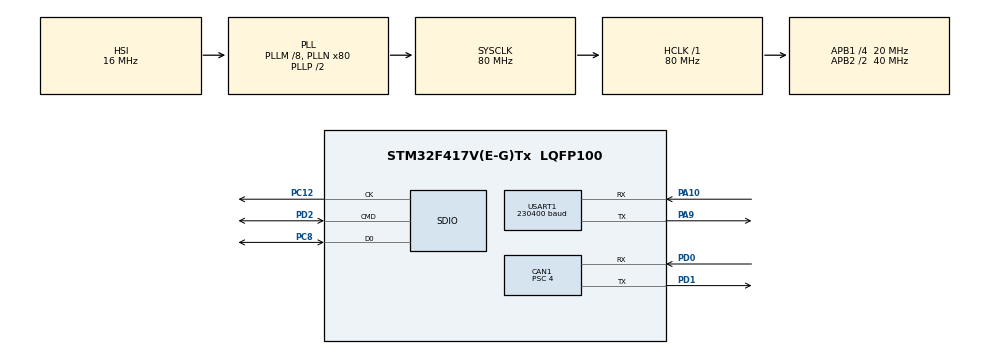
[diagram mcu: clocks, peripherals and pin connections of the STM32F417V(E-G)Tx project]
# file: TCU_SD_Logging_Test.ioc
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CAN1.BS1=CAN_BS1_8TQ
CAN1.CalculateBaudRate=500000
CAN1.CalculateTimeBit=2000
CAN1.CalculateTimeQuantum=200.0
CAN1.Prescaler=4
CAN1.SJW=CAN_SJW_1TQ
FATFS._MAX_SS=4096
FATFS._MIN_SS=512
Mcu.Family=STM32F4
Mcu.Name=STM32F417V(E-G)Tx
Mcu.Package=LQFP100
NVIC.PriorityGroup=NVIC_PRIORITYGROUP_4
PA10.Mode=Asynchronous
PA10.Signal=USART1_RX
PA9.Mode=Asynchronous
PA9.Signal=USART1_TX
PC12.Mode=SD_1_bit
PC12.Signal=SDIO_CK
PC8.Mode=SD_1_bit
PC8.Signal=SDIO_D0
PD0.Mode=CAN_Activate
PD0.Signal=CAN1_RX
PD1.Mode=CAN_Activate
PD1.Signal=CAN1_TX
PD2.Mode=SD_1_bit
PD2.Signal=SDIO_CMD
PH0-OSC_IN.Mode=HSE-External-Oscillator
PH0-OSC_IN.Signal=RCC_OSC_IN
PH1-OSC_OUT.Mode=HSE-External-Oscillator
PH1-OSC_OUT.Signal=RCC_OSC_OUT
ProjectManager.HeapSize=0x200
ProjectManager.StackSize=0x400
ProjectManager.TargetToolchain=STM32CubeIDE
RCC.48MHZClocksFreq_Value=40000000
RCC.AHBFreq_Value=80000000
RCC.APB1CLKDivider=RCC_HCLK_DIV4
RCC.APB1Freq_Value=20000000
RCC.APB1TimFreq_Value=40000000
RCC.APB2CLKDivider=RCC_HCLK_DIV2
RCC.APB2Freq_Value=40000000
RCC.APB2TimFreq_Value=80000000
RCC.CortexFreq_Value=80000000
RCC.HCLKFreq_Value=80000000
RCC.HSE_VALUE=8000000
RCC.HSI_VALUE=16000000
RCC.LSE_VALUE=32768
RCC.PLLM=8
RCC.PLLN=80
RCC.SYSCLKFreq_VALUE=80000000
RCC.SYSCLKSource=RCC_SYSCLKSOURCE_PLLCLK
RCC.VCOOutputFreq_Value=160000000
SDIO.ClockDiv=4
USART1.BaudRate=230400
USART1.VirtualMode=VM_ASYNC
VP_FATFS_VS_SDIO.Mode=SDIO
board=custom

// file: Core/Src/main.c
/* USER CODE BEGIN Header */
/**
  ******************************************************************************
  * @file           : main.c
  * @brief          : Main program body
  ******************************************************************************
  * @attention
  *
  * Copyright (c) 2024 STMicroelectronics.
  * All rights reserved.
  *
  * This software is licensed under terms that can be found in the LICENSE file
  * in the root directory of this software component.
  * If no LICENSE file comes with this software, it is provided AS-IS.
  *
  ******************************************************************************
  */
/* USER CODE END Header */
#include "main.h"
#include "fatfs.h"

/* USER CODE BEGIN Includes */
#include "File_Handling.h"
/* USER CODE END Includes */

CAN_HandleTypeDef hcan1;

SD_HandleTypeDef hsd;

UART_HandleTypeDef huart1;

void SystemClock_Config(void);
static void MX_GPIO_Init(void);
static void MX_SDIO_SD_Init(void);
static void MX_USART1_UART_Init(void);
static void MX_CAN1_Init(void);

int main(void)
{

  /* MCU Configuration--------------------------------------------------------*/

  /* Reset of all peripherals, Initializes the Flash interface and the Systick. */
  HAL_Init();

  /* Configure the system clock */
  SystemClock_Config();

  /* Initialize all configured peripherals */
  MX_GPIO_Init();
  MX_SDIO_SD_Init();
  MX_FATFS_Init();
  MX_USART1_UART_Init();
  MX_CAN1_Init();
  /* USER CODE BEGIN 2 */

  // file names might be all caps even if not set to be so, see:
  // https://superuser.com/questions/1297658/folder-names-become-uppercase-when-syncing-to-fat32-drive
  Mount_SD("/");

  // this loop avoids filename collisions
  FRESULT res = FR_INVALID_NAME;
  uint8_t fileidx = 0;
  char filename[16];

  while (res == FR_INVALID_NAME) {
	  sprintf(filename, "LOGS%d.TXT", (int) fileidx);
	  res = Create_File(filename);
	  fileidx++;
  }

  uint32_t count = 0;
  uint32_t startTick = HAL_GetTick();

  // spams writes to text file for 3 seconds
  while (HAL_GetTick() - startTick < 3000)
  {
	  //      this was used to test can logging which didn't end up working
	  //	  char buf[20];
	  //	  sprintf (buf, "fifo0: %d\n", fifo0);
	  //	  HAL_UART_Transmit(&huart1, buf, strlen (buf), HAL_MAX_DELAY);
	  	  char buffer[100];
	  	  sprintf(buffer, "%d 123456789 123456789 123456789 123456789 123456789 123456789 123456789 123456789 123456789\n", (int) count);
	  	  Update_File(filename, buffer);
	  	  count++;
  }
  Unmount_SD("/");
  /* USER CODE END 2 */

  /* Infinite loop */
  while (1) {

  }
}

void SystemClock_Config(void)
{
  RCC_OscInitTypeDef RCC_OscInitStruct = {0};
  RCC_ClkInitTypeDef RCC_ClkInitStruct = {0};

  /** Configure the main internal regulator output voltage
  */
  __HAL_RCC_PWR_CLK_ENABLE();
  __HAL_PWR_VOLTAGESCALING_CONFIG(PWR_REGULATOR_VOLTAGE_SCALE1);

  /** Initializes the RCC Oscillators according to the specified parameters
  * in the RCC_OscInitTypeDef structure.
  */
  RCC_OscInitStruct.OscillatorType = RCC_OSCILLATORTYPE_HSI;
  RCC_OscInitStruct.HSIState = RCC_HSI_ON;
  RCC_OscInitStruct.HSICalibrationValue = RCC_HSICALIBRATION_DEFAULT;
  RCC_OscInitStruct.PLL.PLLState = RCC_PLL_ON;
  RCC_OscInitStruct.PLL.PLLSource = RCC_PLLSOURCE_HSI;
  RCC_OscInitStruct.PLL.PLLM = 8;
  RCC_OscInitStruct.PLL.PLLN = 80;
  RCC_OscInitStruct.PLL.PLLP = RCC_PLLP_DIV2;
  RCC_OscInitStruct.PLL.PLLQ = 4;
  if (HAL_RCC_OscConfig(&RCC_OscInitStruct) != HAL_OK)
  {
    Error_Handler();
  }

  /** Initializes the CPU, AHB and APB buses clocks
  */
  RCC_ClkInitStruct.ClockType = RCC_CLOCKTYPE_HCLK|RCC_CLOCKTYPE_SYSCLK
                              |RCC_CLOCKTYPE_PCLK1|RCC_CLOCKTYPE_PCLK2;
  RCC_ClkInitStruct.SYSCLKSource = RCC_SYSCLKSOURCE_PLLCLK;
  RCC_ClkInitStruct.AHBCLKDivider = RCC_SYSCLK_DIV1;
  RCC_ClkInitStruct.APB1CLKDivider = RCC_HCLK_DIV4;
  RCC_ClkInitStruct.APB2CLKDivider = RCC_HCLK_DIV2;

  if (HAL_RCC_ClockConfig(&RCC_ClkInitStruct, FLASH_LATENCY_2) != HAL_OK)
  {
    Error_Handler();
  }
}

static void MX_CAN1_Init(void)
{

  hcan1.Instance = CAN1;
  hcan1.Init.Prescaler = 4;
  hcan1.Init.Mode = CAN_MODE_NORMAL;
  hcan1.Init.SyncJumpWidth = CAN_SJW_1TQ;
  hcan1.Init.TimeSeg1 = CAN_BS1_8TQ;
  hcan1.Init.TimeSeg2 = CAN_BS2_1TQ;
  hcan1.Init.TimeTriggeredMode = DISABLE;
  hcan1.Init.AutoBusOff = DISABLE;
  hcan1.Init.AutoWakeUp = DISABLE;
  hcan1.Init.AutoRetransmission = DISABLE;
  hcan1.Init.ReceiveFifoLocked = DISABLE;
  hcan1.Init.TransmitFifoPriority = DISABLE;
  if (HAL_CAN_Init(&hcan1) != HAL_OK)
  {
    Error_Handler();
  }

}

static void MX_SDIO_SD_Init(void)
{

  hsd.Instance = SDIO;
  hsd.Init.ClockEdge = SDIO_CLOCK_EDGE_RISING;
  hsd.Init.ClockBypass = SDIO_CLOCK_BYPASS_DISABLE;
  hsd.Init.ClockPowerSave = SDIO_CLOCK_POWER_SAVE_DISABLE;
  hsd.Init.BusWide = SDIO_BUS_WIDE_1B;
  hsd.Init.HardwareFlowControl = SDIO_HARDWARE_FLOW_CONTROL_DISABLE;
  hsd.Init.ClockDiv = 4;
  /* USER CODE BEGIN SDIO_Init 2 */
  if (HAL_SD_Init(&hsd) != HAL_OK)
  {
    Error_Handler();
  }
  if (HAL_SD_ConfigWideBusOperation(&hsd, SDIO_BUS_WIDE_4B) != HAL_OK)
  {
    Error_Handler();
  }
  /* USER CODE END SDIO_Init 2 */

}

static void MX_USART1_UART_Init(void)
{

  huart1.Instance = USART1;
  huart1.Init.BaudRate = 230400;
  huart1.Init.WordLength = UART_WORDLENGTH_8B;
  huart1.Init.StopBits = UART_STOPBITS_1;
  huart1.Init.Parity = UART_PARITY_NONE;
  huart1.Init.Mode = UART_MODE_TX_RX;
  huart1.Init.HwFlowCtl = UART_HWCONTROL_NONE;
  huart1.Init.OverSampling = UART_OVERSAMPLING_16;
  if (HAL_UART_Init(&huart1) != HAL_OK)
  {
    Error_Handler();
  }

}

static void MX_GPIO_Init(void)
{

  /* GPIO Ports Clock Enable */
  __HAL_RCC_GPIOH_CLK_ENABLE();
  __HAL_RCC_GPIOC_CLK_ENABLE();
  __HAL_RCC_GPIOA_CLK_ENABLE();
  __HAL_RCC_GPIOD_CLK_ENABLE();

}

void Error_Handler(void)
{
  __disable_irq();
  while (1)
  {
  }
}
